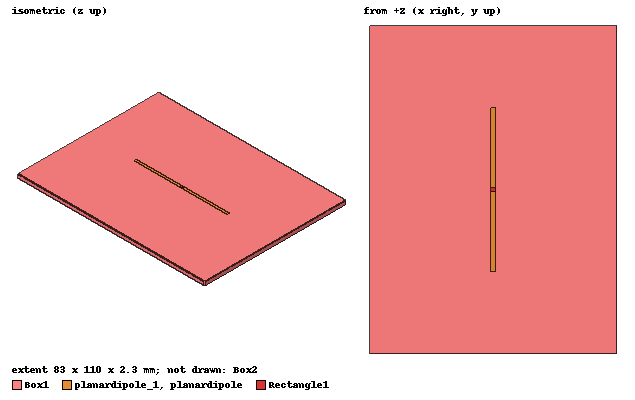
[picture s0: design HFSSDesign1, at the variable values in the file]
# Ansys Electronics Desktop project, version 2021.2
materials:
  vacuum: permittivity=1
  Rogers RT/duroid 5880 (tm): permittivity=2.2 dielectric_loss_tangent=0.0009

design HFSSDesign1 (HFSS, DrivenModal, model units mm)
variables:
  subX = 83mm
  subY = 110mm
  subH = 2.3mm
  Antenna_Width = 1.38mm
  Port_Gap_Width = 1.38mm
  dipole_length = 55mm
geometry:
  Box1 [Rogers RT/duroid 5880 (tm)] = box(corner=(-subX/2, -subY/2., 0mm), size=(subX, subY, -subH))
  planardipole = rectangle(corner=(-Antenna_Width/2, Port_Gap_Width/2, 0mm), x_size=Antenna_Width, y_size=dipole_length/2-Port_Gap_Width/2)
  planardipole_1 = planardipole.duplicate_around_axis(axis=Z, angle=180deg, total=2)
  Rectangle1 = rectangle(corner=(-Antenna_Width/2, -Port_Gap_Width/2, 0mm), x_size=Antenna_Width, y_size=Port_Gap_Width)
  Box2 [vacuum] = box(corner=((-300/2) mm, (-300/2) mm, (-100/2) mm), size=(300mm, 300mm, 100mm))
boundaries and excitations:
  PerfE1: Perfect E Objects=planardipole
  PerfE2: Perfect E Objects=planardipole_1
  Rad1: Radiation Objects=Box2
  1: Lumped Port Objects=Rectangle1 Modes{Mode1{IntLine{middle of Rectangle1.edge(y opposite corner) -> Rectangle1.face} CharImp=Zpi RenormImp=50ohm}} Impedance=50ohm
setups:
  Setup1: HfssDriven Frequency=2.2GHz MaxDeltaS=0.02 MaximumPasses=15 MinimumPasses=1 MinimumConvergedPasses=1 PercentRefinement=30 BasisOrder=1 PortAccuracy=2
    sweep Sweep: 1.5GHz to 3GHz, 101 points; Type=Interpolating InterpTolerance=0.5 InterpMaxSolns=250 InterpUsePortImped=false PassivityErrorTolerance=0.0001
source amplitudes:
  1:1: 1W 0deg
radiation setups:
  Infinite Sphere1: Infinite Sphere Theta=0deg..180deg step 2deg Phi=-180deg..180deg step 2deg
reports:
  S Parameter Plot 1: dB(S(1,1)) vs Freq on Setup1 : Sweep; markers m1 at 2.07GHz, m2 at 2.25GHz, MX1 at x=2.2012067e+09
  VSWR Plot 1: dB(VSWR(1)) vs Freq on Setup1 : Sweep; markers m1 at 2.1GHz, m2 at 2.205GHz, m3 at 2.145GHz, MX1 at x=2.2006785e+09
  Gain Plot 1: dB(GainTotal) vs Phi, Theta on Setup1 : LastAdaptive, Infinite Sphere1 [Freq=2.2GHz]
